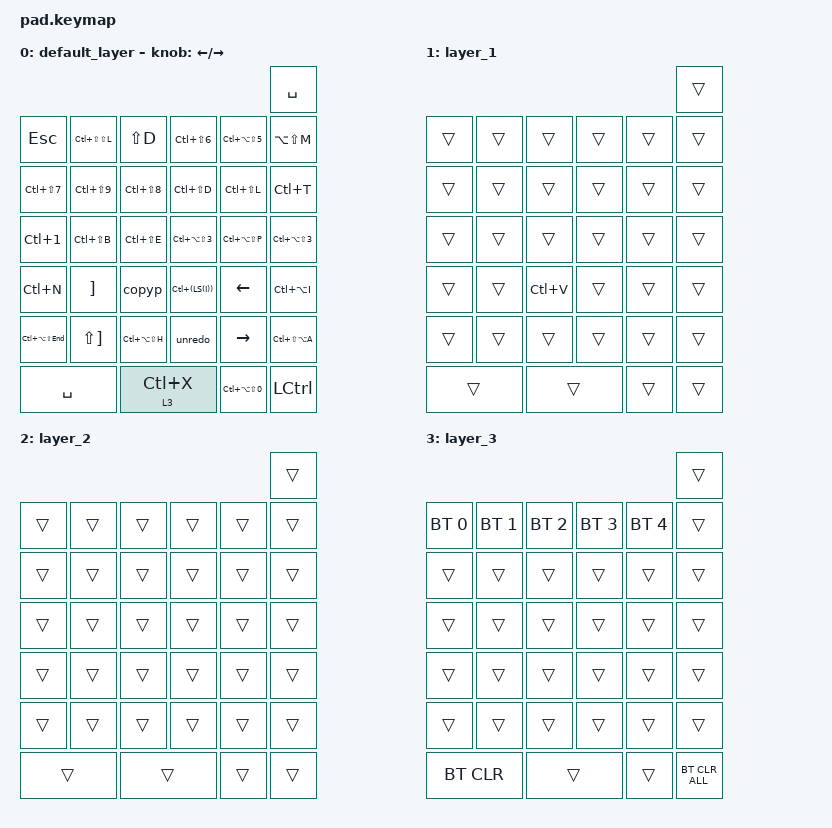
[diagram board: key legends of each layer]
/*
 * Copyright (c) 2020 The ZMK Contributors
 *
 * SPDX-License-Identifier: MIT
 */

#include <behaviors.dtsi>
#include <dt-bindings/zmk/keys.h>
#include <dt-bindings/zmk/bt.h>

/ {
    behaviors {
        copyp: copy_paste {
            compatible = "zmk,behavior-mod-morph";
            #binding-cells = <0>;
            bindings = <&kp LC(C)>, <&kp LC(V)>;
            mods = <MOD_LCTL>;
        };
        unredo: undo_redo {
            compatible = "zmk,behavior-mod-morph";
            #binding-cells = <0>;
            bindings = <&kp LC(Z)>, <&kp LC(LS(Z))>;
            mods = <MOD_LCTL>;
        };
    };
};

/ {
    keymap {
        compatible = "zmk,keymap";

        default_layer {
            bindings = <
                &kp SPACE         // play (encoder press)
                
                &kp ESC
                &kp LC(LS(LS(L)))
                &kp LS(D)
                &kp LC(LS(N6))
                &kp LC(LA(LS(N5)))
                &kp LA(LS(M))

                &kp LC(LS(N7))
                &kp LC(LS(N9))
                &kp LC(LS(N8))
                &kp LC(LS(D))
                &kp LC(LS(L))
                &kp LC(T)

                &kp LC(N1)
                &kp LC(LS(B))
                &kp LC(LS(E))
                &kp LC(LA(LS(N3)))
                &kp LC(LA(LS(P)))
                &kp LC(LA(LS(N3)))

                &kp LC(N)
                &kp RBKT
                &copyp
                &kp LC((LS(I)))
                &kp LEFT
                &kp LC(LA(I))

                &kp LC(LA(LS(END)))
                &kp LS(RBKT)
                &kp LC(LA(LS(H)))
                &unredo
                &kp RIGHT
                &kp LC(LS(LA(A)))

                &kp SPACE
                &lt 3 LC(X)
                &kp LC(LA(LS(N0)))
                &kp LCTRL
            >;
            sensor-bindings = <&inc_dec_kp LEFT RIGHT>; // frame scrub
        };
        layer_1 {
            bindings = <
                                                    &trans 
                &trans &trans &trans    &trans &trans &trans
                &trans &trans &trans    &trans &trans &trans
                &trans &trans &trans    &trans &trans &trans
                &trans &trans &kp LC(V) &trans &trans &trans
                &trans &trans &trans    &trans &trans &trans
                &trans        &trans            &trans &trans
            >;
        };

        layer_2 {
            bindings = <
                                                    &trans 
                &trans &trans &trans &trans &trans &trans
                &trans &trans &trans &trans &trans &trans
                &trans &trans &trans &trans &trans &trans
                &trans &trans &trans &trans &trans &trans
                &trans &trans &trans &trans &trans &trans
                &trans        &trans        &trans &trans
            >;
        };

        layer_3 {
            bindings = <
                                                    &trans 
                &bt BT_SEL 0 &bt BT_SEL 1 &bt BT_SEL 2 &bt BT_SEL 3 &bt BT_SEL 4 &trans
                &trans &trans &trans &trans &trans &trans
                &trans &trans &trans &trans &trans &trans
                &trans &trans &trans &trans &trans &trans
                &trans &trans &trans &trans &trans &trans
                &bt BT_CLR        &trans        &trans &bt BT_CLR_ALL
            >;
        };
    };
};
